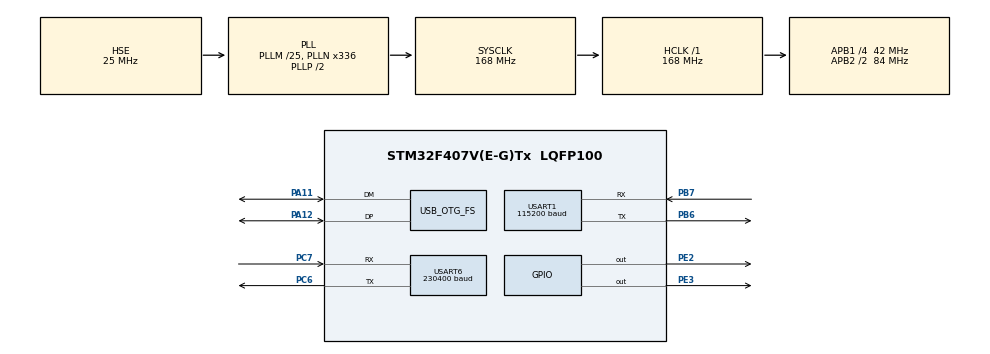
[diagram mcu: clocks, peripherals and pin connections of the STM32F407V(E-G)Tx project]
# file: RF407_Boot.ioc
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FATFS._FS_LOCK=0
FATFS._FS_REENTRANT=0
FATFS._MAX_SS=512
FATFS._USE_LFN=0
FATFS._USE_STRFUNC=2
Mcu.Family=STM32F4
Mcu.Name=STM32F407V(E-G)Tx
Mcu.Package=LQFP100
NVIC.OTG_FS_IRQn=true\:0\:0\:false\:false\:true\:true\:false\:true
NVIC.PriorityGroup=NVIC_PRIORITYGROUP_4
NVIC.USART1_IRQn=true\:1\:0\:true\:false\:true\:true\:true\:true
NVIC.USART6_IRQn=true\:2\:0\:true\:false\:true\:true\:true\:true
PA11.Mode=Host_Only
PA11.Signal=USB_OTG_FS_DM
PA12.Mode=Host_Only
PA12.Signal=USB_OTG_FS_DP
PA13.Mode=Serial_Wire
PA13.Signal=SYS_JTMS-SWDIO
PA14.Mode=Serial_Wire
PA14.Signal=SYS_JTCK-SWCLK
PB6.Mode=Asynchronous
PB6.Signal=USART1_TX
PB7.Mode=Asynchronous
PB7.Signal=USART1_RX
PC6.Mode=Asynchronous
PC6.Signal=USART6_TX
PC7.Mode=Asynchronous
PC7.Signal=USART6_RX
PE2.Signal=GPIO_Output
PE3.Signal=GPIO_Output
PH0-OSC_IN.Mode=HSE-External-Oscillator
PH0-OSC_IN.Signal=RCC_OSC_IN
PH1-OSC_OUT.Mode=HSE-External-Oscillator
PH1-OSC_OUT.Signal=RCC_OSC_OUT
ProjectManager.HeapSize=0x4000
ProjectManager.StackSize=0x2000
ProjectManager.TargetToolchain=STM32CubeIDE
RCC.48MHZClocksFreq_Value=48000000
RCC.AHBFreq_Value=168000000
RCC.APB1CLKDivider=RCC_HCLK_DIV4
RCC.APB1Freq_Value=42000000
RCC.APB1TimFreq_Value=84000000
RCC.APB2CLKDivider=RCC_HCLK_DIV2
RCC.APB2Freq_Value=84000000
RCC.APB2TimFreq_Value=168000000
RCC.CortexFreq_Value=168000000
RCC.HCLKFreq_Value=168000000
RCC.HSE_VALUE=25000000
RCC.HSI_VALUE=16000000
RCC.LSE_VALUE=32768
RCC.PLLM=25
RCC.PLLN=336
RCC.PLLQ=7
RCC.SYSCLKFreq_VALUE=168000000
RCC.SYSCLKSource=RCC_SYSCLKSOURCE_PLLCLK
RCC.VCOOutputFreq_Value=336000000
USART1.BaudRate=115200
USART1.VirtualMode=VM_ASYNC
USART6.BaudRate=230400
USART6.VirtualMode=VM_ASYNC
USB_HOST.USBH_HandleTypeDef-MSC_FS=hUsbHostFS
USB_HOST.VirtualModeFS=Msc
USB_OTG_FS.VirtualMode=Host_Only
USB_OTG_FS.phy_itface=HCD_PHY_EMBEDDED
VP_FATFS_VS_USB.Mode=USB
VP_USB_HOST_VS_USB_HOST_MSC_FS.Mode=MSC_FS
board=custom

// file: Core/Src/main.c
/* USER CODE BEGIN Header */
/**
  ******************************************************************************
  * @file           : main.c
  * @brief          : RF407 Bootloader - USB firmware update for 407 & H562
  ******************************************************************************
  */
/* USER CODE END Header */
#include "main.h"
#include "fatfs.h"
#include "usart.h"
#include "usb_host.h"
#include "gpio.h"

/* USER CODE BEGIN Includes */
#include <string.h>
#include "boot_cmd.h"
#include "boot_hp.h"
#include "boot_flash.h"
#include "boot_usb.h"
#include "boot_version.h"
/* USER CODE END Includes */

void SystemClock_Config(void);
void MX_USB_HOST_Process(void);

int main(void)
{

  /* USER CODE BEGIN 1 */
  /* Boot_Flash_CheckAndJump() disabled for debugging */
  /* USER CODE END 1 */

  /* MCU Configuration--------------------------------------------------------*/

  /* Reset of all peripherals, Initializes the Flash interface and the Systick. */
  HAL_Init();

  /* Configure the system clock */
  SystemClock_Config();

  /* Initialize all configured peripherals */
  MX_GPIO_Init();
  MX_USART1_UART_Init();
  MX_USART6_UART_Init();
  MX_USB_HOST_Init();
  MX_FATFS_Init();
  /* USER CODE BEGIN 2 */
  Boot_Cmd_Init();
  Boot_HP_Init();

  Boot_Print("\r\n== RF407 Boot ==\r\n> ");

  HAL_GPIO_WritePin(GPIOE, GPIO_PIN_2, GPIO_PIN_SET);
  HAL_GPIO_WritePin(GPIOE, GPIO_PIN_3, GPIO_PIN_RESET);
  /* USER CODE END 2 */

  /* Infinite loop */
  /* USER CODE BEGIN WHILE */
  uint32_t led_tick = 0;

  while (1)
  {
    /* Bootloader: LED1 only blink (500ms) */
    if ((HAL_GetTick() - led_tick) >= 500) {
      led_tick = HAL_GetTick();
      HAL_GPIO_TogglePin(GPIOE, GPIO_PIN_2);
    }

    /* Process UART1 commands */
    Boot_Cmd_Process();

    /* USER CODE END WHILE */
    MX_USB_HOST_Process();

  }
}

void SystemClock_Config(void)
{
  RCC_OscInitTypeDef RCC_OscInitStruct = {0};
  RCC_ClkInitTypeDef RCC_ClkInitStruct = {0};

  /** Configure the main internal regulator output voltage
  */
  __HAL_RCC_PWR_CLK_ENABLE();
  __HAL_PWR_VOLTAGESCALING_CONFIG(PWR_REGULATOR_VOLTAGE_SCALE1);

  /** Initializes the RCC Oscillators according to the specified parameters
  * in the RCC_OscInitTypeDef structure.
  */
  RCC_OscInitStruct.OscillatorType = RCC_OSCILLATORTYPE_HSE;
  RCC_OscInitStruct.HSEState = RCC_HSE_ON;
  RCC_OscInitStruct.PLL.PLLState = RCC_PLL_ON;
  RCC_OscInitStruct.PLL.PLLSource = RCC_PLLSOURCE_HSE;
  RCC_OscInitStruct.PLL.PLLM = 25;
  RCC_OscInitStruct.PLL.PLLN = 336;
  RCC_OscInitStruct.PLL.PLLP = RCC_PLLP_DIV2;
  RCC_OscInitStruct.PLL.PLLQ = 7;
  if (HAL_RCC_OscConfig(&RCC_OscInitStruct) != HAL_OK)
  {
    Error_Handler();
  }

  /** Initializes the CPU, AHB and APB buses clocks
  */
  RCC_ClkInitStruct.ClockType = RCC_CLOCKTYPE_HCLK|RCC_CLOCKTYPE_SYSCLK
                              |RCC_CLOCKTYPE_PCLK1|RCC_CLOCKTYPE_PCLK2;
  RCC_ClkInitStruct.SYSCLKSource = RCC_SYSCLKSOURCE_PLLCLK;
  RCC_ClkInitStruct.AHBCLKDivider = RCC_SYSCLK_DIV1;
  RCC_ClkInitStruct.APB1CLKDivider = RCC_HCLK_DIV4;
  RCC_ClkInitStruct.APB2CLKDivider = RCC_HCLK_DIV2;

  if (HAL_RCC_ClockConfig(&RCC_ClkInitStruct, FLASH_LATENCY_5) != HAL_OK)
  {
    Error_Handler();
  }
}

/* USER CODE BEGIN 4 */
/**
  * @brief  UART RX complete callback - dispatches to boot_cmd / boot_hp
  */
void HAL_UART_RxCpltCallback(UART_HandleTypeDef *huart)
{
  if (huart->Instance == USART1) {
    extern uint8_t boot_cmd_rxByte;
    Boot_Cmd_RxCallback(boot_cmd_rxByte);
  }
  /* USART6: uses register polling, no callback needed */
}
/* USER CODE END 4 */

void Error_Handler(void)
{
  /* USER CODE BEGIN Error_Handler_Debug */
  /* Fast LED blink = Error_Handler reached */
  while (1)
  {
    HAL_GPIO_TogglePin(GPIOE, GPIO_PIN_2);
    HAL_GPIO_TogglePin(GPIOE, GPIO_PIN_3);
    for (volatile uint32_t i = 0; i < 500000; i++);  /* ~50ms at 16MHz */
  }
  /* USER CODE END Error_Handler_Debug */
}
